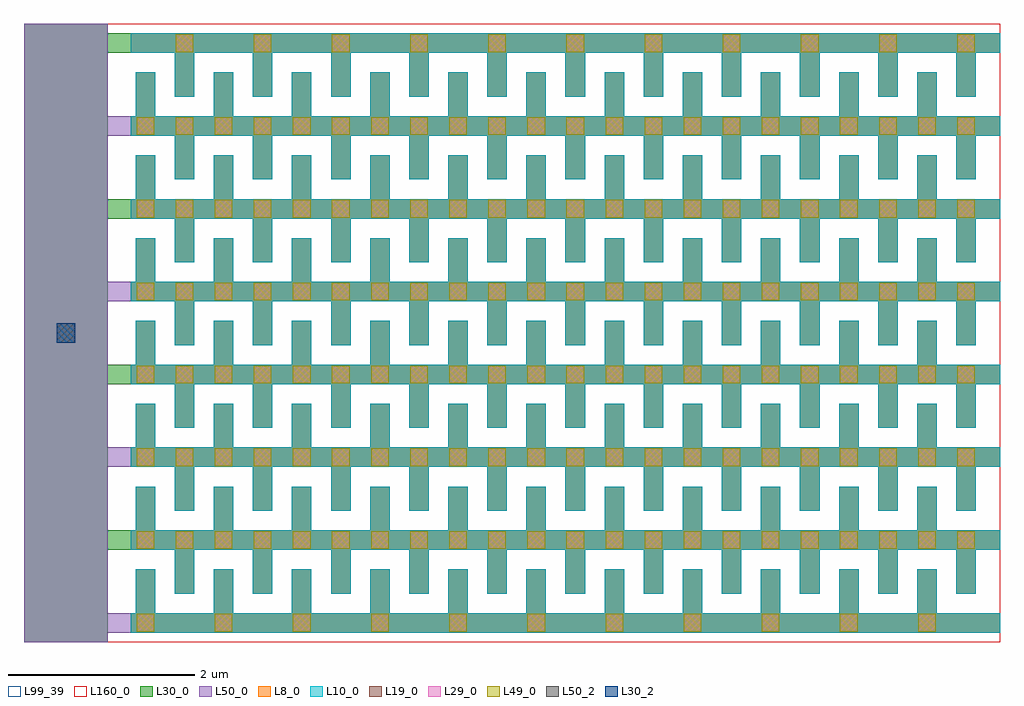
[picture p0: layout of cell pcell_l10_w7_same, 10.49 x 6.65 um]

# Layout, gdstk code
import gdstk
lib = gdstk.Library(unit=1e-6, precision=1e-09)
def R(c, l, rs):  # rectangles x0, y0, x1, y1
    for r in rs: c.add(gdstk.rectangle(r[:2], r[2:], *l))
def A(c, l, x, y, w, h, nx, ny, dx, dy):  # array of equal rectangles
    R(c, l, [(x+i*dx, y+j*dy, x+i*dx+w, y+j*dy+h) for i in range(nx) for j in range(ny)])
L8_0 = (8, 0)
L10_0 = (10, 0)
L19_0 = (19, 0)
L29_0 = (29, 0)
L30_0 = (30, 0)
L30_2 = (30, 2)
L49_0 = (49, 0)
L50_0 = (50, 0)
L50_2 = (50, 2)
L99_39 = (99, 39)
L160_0 = (160, 0)

pcell_l10_w7_same = lib.new_cell('pcell_l10_w7_same')
A(pcell_l10_w7_same, L8_0, -0.05, -0.105, 9.34, 0.21, 1, 8, 0, 0.89)
A(pcell_l10_w7_same, L8_0, 0, 0, 0.21, 0.575, 11, 7, 0.84, 0.89)
A(pcell_l10_w7_same, L8_0, 0.42, 0.315, 0.21, 0.575, 11, 7, 0.84, 0.89)
A(pcell_l10_w7_same, L10_0, -0.05, -0.105, 9.34, 0.21, 1, 8, 0, 0.89)
A(pcell_l10_w7_same, L10_0, 0, 0, 0.21, 0.575, 11, 7, 0.84, 0.89)
A(pcell_l10_w7_same, L10_0, 0.42, 0.315, 0.21, 0.575, 11, 7, 0.84, 0.89)
A(pcell_l10_w7_same, L19_0, 0.01, -0.095, 0.19, 0.19, 11, 1, 0.84, 0)
A(pcell_l10_w7_same, L19_0, 0.01, 0.795, 0.19, 0.19, 22, 6, 0.42, 0.89)
A(pcell_l10_w7_same, L19_0, 0.43, 6.135, 0.19, 0.19, 11, 1, 0.84, 0)
A(pcell_l10_w7_same, L29_0, 0.01, -0.095, 0.19, 0.19, 11, 1, 0.84, 0)
A(pcell_l10_w7_same, L29_0, 0.01, 0.795, 0.19, 0.19, 22, 6, 0.42, 0.89)
A(pcell_l10_w7_same, L29_0, 0.43, 6.135, 0.19, 0.19, 11, 1, 0.84, 0)
A(pcell_l10_w7_same, L30_0, -0.05, -0.105, 9.34, 0.21, 1, 4, 0, 1.78)
A(pcell_l10_w7_same, L30_0, 0, 0, 0.21, 0.575, 11, 7, 0.84, 0.89)
A(pcell_l10_w7_same, L30_0, 0.42, 0.315, 0.21, 0.575, 11, 7, 0.84, 0.89)
A(pcell_l10_w7_same, L30_0, -1.2, 0.785, 10.49, 0.21, 1, 4, 0, 1.78)
R(pcell_l10_w7_same, L30_0, [(-1.2,-0.21,-0.3,6.44)])
R(pcell_l10_w7_same, L30_2, [(-0.85,3.01,-0.65,3.22)])
A(pcell_l10_w7_same, L49_0, 0.01, -0.095, 0.19, 0.19, 11, 1, 0.84, 0)
A(pcell_l10_w7_same, L49_0, 0.01, 0.795, 0.19, 0.19, 22, 6, 0.42, 0.89)
A(pcell_l10_w7_same, L49_0, 0.43, 6.135, 0.19, 0.19, 11, 1, 0.84, 0)
A(pcell_l10_w7_same, L50_0, -1.2, -0.105, 10.49, 0.21, 1, 4, 0, 1.78)
A(pcell_l10_w7_same, L50_0, 0, 0, 0.21, 0.575, 11, 7, 0.84, 0.89)
A(pcell_l10_w7_same, L50_0, 0.42, 0.315, 0.21, 0.575, 11, 7, 0.84, 0.89)
A(pcell_l10_w7_same, L50_0, -0.05, 0.785, 9.34, 0.21, 1, 4, 0, 1.78)
R(pcell_l10_w7_same, L50_0, [(-1.2,-0.21,-0.3,6.44)])
R(pcell_l10_w7_same, L50_2, [(-0.85,3.01,-0.65,3.22)])
R(pcell_l10_w7_same, L99_39, [(-1.2,-0.21,9.29,6.44)])
R(pcell_l10_w7_same, L160_0, [(-1.2,-0.21,9.29,6.44)])
pcell_l10_w7_same.add(gdstk.Label('cap_cmomi C=61.437fF', (-1.2,-0.71), layer=63, texttype=0))

lib.write_gds('pcell_l10_w7_same.gds')
